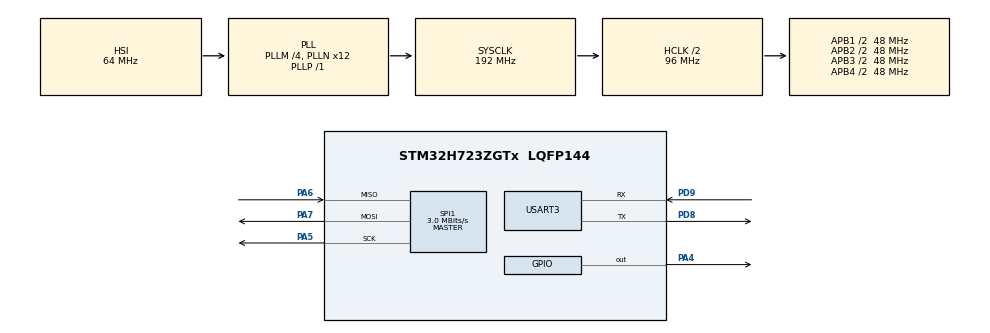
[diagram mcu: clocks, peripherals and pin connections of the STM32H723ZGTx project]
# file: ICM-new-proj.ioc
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CORTEX_M7.default_mode_Activation=1
Mcu.Family=STM32H7
Mcu.Name=STM32H723ZGTx
Mcu.Package=LQFP144
NUCLEO-H723ZG.BUTTON=1
NUCLEO-H723ZG.LD1=true
NUCLEO-H723ZG.LD2=true
NUCLEO-H723ZG.LD3=true
NUCLEO-H723ZG.VCP=false
NVIC.EXTI15_10_IRQn=true\:0\:0\:false\:false\:true\:false\:true\:true
NVIC.PriorityGroup=NVIC_PRIORITYGROUP_4
PA13(JTMS/SWDIO).GPIO_Label=SWDIO
PA13(JTMS/SWDIO).Signal=DEBUG_JTMS-SWDIO
PA14(JTCK/SWCLK).GPIO_Label=SWCLK
PA14(JTCK/SWCLK).Signal=DEBUG_JTCK-SWCLK
PA4.Signal=GPIO_Output
PA5.Mode=Full_Duplex_Master
PA5.Signal=SPI1_SCK
PA6.Mode=Full_Duplex_Master
PA6.Signal=SPI1_MISO
PA7.Mode=Full_Duplex_Master
PA7.Signal=SPI1_MOSI
PC14-OSC32_IN.Signal=RCC_OSC32_IN
PC15-OSC32_OUT.Signal=RCC_OSC32_OUT
PD8.Mode=Asynchronous
PD8.Signal=USART3_TX
PD9.Mode=Asynchronous
PD9.Signal=USART3_RX
ProjectManager.HeapSize=0x200
ProjectManager.StackSize=0x400
ProjectManager.TargetToolchain=CMake
RCC.ADCFreq_Value=608000000
RCC.APB1Freq_Value=48000000
RCC.APB2Freq_Value=48000000
RCC.APB3Freq_Value=48000000
RCC.APB4Freq_Value=48000000
RCC.CortexFreq_Value=192000000
RCC.D1PPRE=RCC_APB3_DIV2
RCC.D2PPRE1=RCC_APB1_DIV2
RCC.D2PPRE2=RCC_APB2_DIV2
RCC.D3PPRE=RCC_APB4_DIV2
RCC.DIVM1=4
RCC.DIVM2=1
RCC.DIVN1=12
RCC.DIVN2=19
RCC.DIVP1=1
RCC.DIVQ1=4
RCC.HCLKFreq_Value=96000000
RCC.HPRE=RCC_HCLK_DIV2
RCC.HSE_VALUE=8000000
RCC.PLLFRACN=0
RCC.SYSCLKFreq_VALUE=192000000
RCC.SYSCLKSource=RCC_SYSCLKSOURCE_PLLCLK
RCC.USBCLockSelection=RCC_USBCLKSOURCE_HSI48
RCC.USBFreq_Value=48000000
SPI1.BaudRatePrescaler=SPI_BAUDRATEPRESCALER_16
SPI1.CLKPhase=SPI_PHASE_2EDGE
SPI1.CLKPolarity=SPI_POLARITY_HIGH
SPI1.CalculateBaudRate=3.0 MBits/s
SPI1.Direction=SPI_DIRECTION_2LINES
SPI1.Mode=SPI_MODE_MASTER
SPI1.VirtualType=VM_MASTER
USART3.VirtualMode-Asynchronous=VM_ASYNC
VP_MEMORYMAP_VS_MEMORYMAP.Mode=CurAppReg
VP_NUCLEO-H723ZG_VS_BSP_COMMON.Mode=COMMON
board=NUCLEO-H723ZG

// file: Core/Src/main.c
/* USER CODE BEGIN Header */
/**
  ******************************************************************************
  * @file           : main.c
  * @brief          : Main program body
  ******************************************************************************
  * @attention
  *
  * Copyright (c) 2026 STMicroelectronics.
  * All rights reserved.
  *
  * This software is licensed under terms that can be found in the LICENSE file
  * in the root directory of this software component.
  * If no LICENSE file comes with this software, it is provided AS-IS.
  *
  ******************************************************************************
  */
/* USER CODE END Header */
#include "main.h"

SPI_HandleTypeDef hspi1;

UART_HandleTypeDef huart3;

/* USER CODE BEGIN PV */
volatile uint8_t spi_transmit_flag = 0;
volatile uint8_t spi_recieve_flag = 0;

/* USER CODE END PV */

void SystemClock_Config(void);
static void MPU_Config(void);
static void MX_GPIO_Init(void);
static void MX_USART3_UART_Init(void);
static void MX_SPI1_Init(void);

int main(void)
{

  /* USER CODE BEGIN 1 */
  // allocating an instance not a pointer
  imu_data_t imu_data;

  /* USER CODE END 1 */

  /* MPU Configuration--------------------------------------------------------*/
  MPU_Config();

  /* MCU Configuration--------------------------------------------------------*/

  /* Reset of all peripherals, Initializes the Flash interface and the Systick. */
  HAL_Init();

  /* Configure the system clock */
  SystemClock_Config();

  /* Initialize all configured peripherals */
  MX_GPIO_Init();
  MX_USART3_UART_Init();
  MX_SPI1_Init();
  /* USER CODE BEGIN 2 */

  // reg bank select address we want to say pick reg bank zero cuz it contains that who_am_i reg at 1
  uint8_t reg_addr = 0x7F;
  uint8_t bank_reg = 0x00; // Example value for bank 0 selection
  uint8_t who_am_i;

  // CS low to start
  HAL_GPIO_WritePin(GPIOA, GPIO_PIN_4, GPIO_PIN_RESET);
  // SPI handle, data we want to send, size of data (number of byte), timeout
  //  WHO_AM_I regiter page 36 of datasheet
  reg_addr = 0x00|0x80; //MSB indicating r/w operations Read (1) or Write (0)
  HAL_StatusTypeDef spi_status;
  spi_status = HAL_SPI_Transmit(&hspi1, &reg_addr, 1, 100);
  spi_status  = HAL_SPI_Transmit(&hspi1, &bank_reg, 1, 100);
  HAL_SPI_Receive(&hspi1, &who_am_i, 1, 100);
  HAL_GPIO_WritePin(GPIOA, GPIO_PIN_4, GPIO_PIN_SET);
  HAL_Delay(100);

  void transmit_uint8(int16_t value) {
    char buffer[7]; // Buffer to hold "32767\0" (max value is 32767, plus null terminator)

    // Convert the int16_t value to a string in the buffer
    sprintf(buffer, "%d", value);

    // Transmit each character of the string over UART
    for (int i = 0; i < strlen(buffer); i++) {
        HAL_UART_Transmit(&huart3, (uint8_t*)&buffer[i], 1, 100);
    }
  }

  //initialize imu
  imu_init();

  /* USER CODE END 2 */

  /* Initialize leds */
  BSP_LED_Init(LED_GREEN);
  BSP_LED_Init(LED_YELLOW);
  BSP_LED_Init(LED_RED);

  /* Initialize USER push-button, will be used to trigger an interrupt each time it's pressed.*/
  BSP_PB_Init(BUTTON_USER, BUTTON_MODE_EXTI);
  HAL_GPIO_WritePin(GPIOA, GPIO_PIN_4, GPIO_PIN_SET);

  /* Infinite loop */
  /* USER CODE BEGIN WHILE */
  //const uint8_t buffer[] = "  Hello from STM32H7!\r\n";
  while (1)
  {

    /* USER CODE END WHILE */

    /* USER CODE BEGIN 3 */
    HAL_StatusTypeDef uart_status;
    //passing in the address to make it a pointer!
    imu_read_data(&imu_data);
    HAL_Delay(100);
    int16_t x_accel = imu_data.x_accel;
    transmit_uint8(x_accel);
    HAL_Delay(100);
    int16_t y_accel = imu_data.y_accel;
    transmit_uint8(y_accel);
    HAL_Delay(100);
    int16_t z_accel = imu_data.z_accel;
    transmit_uint8(z_accel);

    //status = HAL_UART_Transmit(&huart3, buffer, sizeof(buffer)/sizeof(buffer[0]), 100);
    HAL_Delay(1000);

  }
  /* USER CODE END 3 */
}

void SystemClock_Config(void)
{
  RCC_OscInitTypeDef RCC_OscInitStruct = {0};
  RCC_ClkInitTypeDef RCC_ClkInitStruct = {0};

  /** Supply configuration update enable
  */
  HAL_PWREx_ConfigSupply(PWR_LDO_SUPPLY);

  /** Configure the main internal regulator output voltage
  */
  __HAL_PWR_VOLTAGESCALING_CONFIG(PWR_REGULATOR_VOLTAGE_SCALE2);

  while(!__HAL_PWR_GET_FLAG(PWR_FLAG_VOSRDY)) {}

  /** Initializes the RCC Oscillators according to the specified parameters
  * in the RCC_OscInitTypeDef structure.
  */
  RCC_OscInitStruct.OscillatorType = RCC_OSCILLATORTYPE_HSI;
  RCC_OscInitStruct.HSIState = RCC_HSI_DIV1;
  RCC_OscInitStruct.HSICalibrationValue = 64;
  RCC_OscInitStruct.PLL.PLLState = RCC_PLL_ON;
  RCC_OscInitStruct.PLL.PLLSource = RCC_PLLSOURCE_HSI;
  RCC_OscInitStruct.PLL.PLLM = 4;
  RCC_OscInitStruct.PLL.PLLN = 12;
  RCC_OscInitStruct.PLL.PLLP = 1;
  RCC_OscInitStruct.PLL.PLLQ = 4;
  RCC_OscInitStruct.PLL.PLLR = 2;
  RCC_OscInitStruct.PLL.PLLRGE = RCC_PLL1VCIRANGE_3;
  RCC_OscInitStruct.PLL.PLLVCOSEL = RCC_PLL1VCOWIDE;
  RCC_OscInitStruct.PLL.PLLFRACN = 0;
  if (HAL_RCC_OscConfig(&RCC_OscInitStruct) != HAL_OK)
  {
    Error_Handler();
  }

  /** Initializes the CPU, AHB and APB buses clocks
  */
  RCC_ClkInitStruct.ClockType = RCC_CLOCKTYPE_HCLK|RCC_CLOCKTYPE_SYSCLK
                              |RCC_CLOCKTYPE_PCLK1|RCC_CLOCKTYPE_PCLK2
                              |RCC_CLOCKTYPE_D3PCLK1|RCC_CLOCKTYPE_D1PCLK1;
  RCC_ClkInitStruct.SYSCLKSource = RCC_SYSCLKSOURCE_PLLCLK;
  RCC_ClkInitStruct.SYSCLKDivider = RCC_SYSCLK_DIV1;
  RCC_ClkInitStruct.AHBCLKDivider = RCC_HCLK_DIV2;
  RCC_ClkInitStruct.APB3CLKDivider = RCC_APB3_DIV2;
  RCC_ClkInitStruct.APB1CLKDivider = RCC_APB1_DIV2;
  RCC_ClkInitStruct.APB2CLKDivider = RCC_APB2_DIV2;
  RCC_ClkInitStruct.APB4CLKDivider = RCC_APB4_DIV2;

  if (HAL_RCC_ClockConfig(&RCC_ClkInitStruct, FLASH_LATENCY_1) != HAL_OK)
  {
    Error_Handler();
  }
}

static void MX_SPI1_Init(void)
{

  /* SPI1 parameter configuration*/
  hspi1.Instance = SPI1;
  hspi1.Init.Mode = SPI_MODE_MASTER;
  hspi1.Init.Direction = SPI_DIRECTION_2LINES;
  hspi1.Init.DataSize = SPI_DATASIZE_4BIT;
  hspi1.Init.CLKPolarity = SPI_POLARITY_HIGH;
  hspi1.Init.CLKPhase = SPI_PHASE_2EDGE;
  hspi1.Init.NSS = SPI_NSS_SOFT;
  hspi1.Init.BaudRatePrescaler = SPI_BAUDRATEPRESCALER_16;
  hspi1.Init.FirstBit = SPI_FIRSTBIT_MSB;
  hspi1.Init.TIMode = SPI_TIMODE_DISABLE;
  hspi1.Init.CRCCalculation = SPI_CRCCALCULATION_DISABLE;
  hspi1.Init.CRCPolynomial = 0x0;
  hspi1.Init.NSSPMode = SPI_NSS_PULSE_ENABLE;
  hspi1.Init.NSSPolarity = SPI_NSS_POLARITY_LOW;
  hspi1.Init.FifoThreshold = SPI_FIFO_THRESHOLD_01DATA;
  hspi1.Init.TxCRCInitializationPattern = SPI_CRC_INITIALIZATION_ALL_ZERO_PATTERN;
  hspi1.Init.RxCRCInitializationPattern = SPI_CRC_INITIALIZATION_ALL_ZERO_PATTERN;
  hspi1.Init.MasterSSIdleness = SPI_MASTER_SS_IDLENESS_00CYCLE;
  hspi1.Init.MasterInterDataIdleness = SPI_MASTER_INTERDATA_IDLENESS_00CYCLE;
  hspi1.Init.MasterReceiverAutoSusp = SPI_MASTER_RX_AUTOSUSP_DISABLE;
  hspi1.Init.MasterKeepIOState = SPI_MASTER_KEEP_IO_STATE_DISABLE;
  hspi1.Init.IOSwap = SPI_IO_SWAP_DISABLE;
  if (HAL_SPI_Init(&hspi1) != HAL_OK)
  {
    Error_Handler();
  }

}

static void MX_USART3_UART_Init(void)
{

  huart3.Instance = USART3;
  huart3.Init.BaudRate = 115200;
  huart3.Init.WordLength = UART_WORDLENGTH_8B;
  huart3.Init.StopBits = UART_STOPBITS_1;
  huart3.Init.Parity = UART_PARITY_NONE;
  huart3.Init.Mode = UART_MODE_TX_RX;
  huart3.Init.HwFlowCtl = UART_HWCONTROL_NONE;
  huart3.Init.OverSampling = UART_OVERSAMPLING_16;
  huart3.Init.OneBitSampling = UART_ONE_BIT_SAMPLE_DISABLE;
  huart3.Init.ClockPrescaler = UART_PRESCALER_DIV1;
  huart3.AdvancedInit.AdvFeatureInit = UART_ADVFEATURE_NO_INIT;
  if (HAL_UART_Init(&huart3) != HAL_OK)
  {
    Error_Handler();
  }
  if (HAL_UARTEx_SetTxFifoThreshold(&huart3, UART_TXFIFO_THRESHOLD_1_8) != HAL_OK)
  {
    Error_Handler();
  }
  if (HAL_UARTEx_SetRxFifoThreshold(&huart3, UART_RXFIFO_THRESHOLD_1_8) != HAL_OK)
  {
    Error_Handler();
  }
  if (HAL_UARTEx_DisableFifoMode(&huart3) != HAL_OK)
  {
    Error_Handler();
  }

}

static void MX_GPIO_Init(void)
{
  GPIO_InitTypeDef GPIO_InitStruct = {0};

  /* GPIO Ports Clock Enable */
  __HAL_RCC_GPIOC_CLK_ENABLE();
  __HAL_RCC_GPIOA_CLK_ENABLE();
  __HAL_RCC_GPIOD_CLK_ENABLE();

  /*Configure GPIO pin Output Level */
  HAL_GPIO_WritePin(GPIOA, GPIO_PIN_4, GPIO_PIN_RESET);

  /*Configure GPIO pin : PA4 */
  GPIO_InitStruct.Pin = GPIO_PIN_4;
  GPIO_InitStruct.Mode = GPIO_MODE_OUTPUT_PP;
  GPIO_InitStruct.Pull = GPIO_NOPULL;
  GPIO_InitStruct.Speed = GPIO_SPEED_FREQ_LOW;
  HAL_GPIO_Init(GPIOA, &GPIO_InitStruct);

}

 /* MPU Configuration */

void MPU_Config(void)
{
  MPU_Region_InitTypeDef MPU_InitStruct = {0};

  /* Disables the MPU */
  HAL_MPU_Disable();

  /** Initializes and configures the Region and the memory to be protected
  */
  MPU_InitStruct.Enable = MPU_REGION_ENABLE;
  MPU_InitStruct.Number = MPU_REGION_NUMBER0;
  MPU_InitStruct.BaseAddress = 0x0;
  MPU_InitStruct.Size = MPU_REGION_SIZE_4GB;
  MPU_InitStruct.SubRegionDisable = 0x87;
  MPU_InitStruct.TypeExtField = MPU_TEX_LEVEL0;
  MPU_InitStruct.AccessPermission = MPU_REGION_NO_ACCESS;
  MPU_InitStruct.DisableExec = MPU_INSTRUCTION_ACCESS_DISABLE;
  MPU_InitStruct.IsShareable = MPU_ACCESS_SHAREABLE;
  MPU_InitStruct.IsCacheable = MPU_ACCESS_NOT_CACHEABLE;
  MPU_InitStruct.IsBufferable = MPU_ACCESS_NOT_BUFFERABLE;

  HAL_MPU_ConfigRegion(&MPU_InitStruct);
  /* Enables the MPU */
  HAL_MPU_Enable(MPU_PRIVILEGED_DEFAULT);

}

void Error_Handler(void)
{
  __disable_irq();
  while (1)
  {
  }
}
